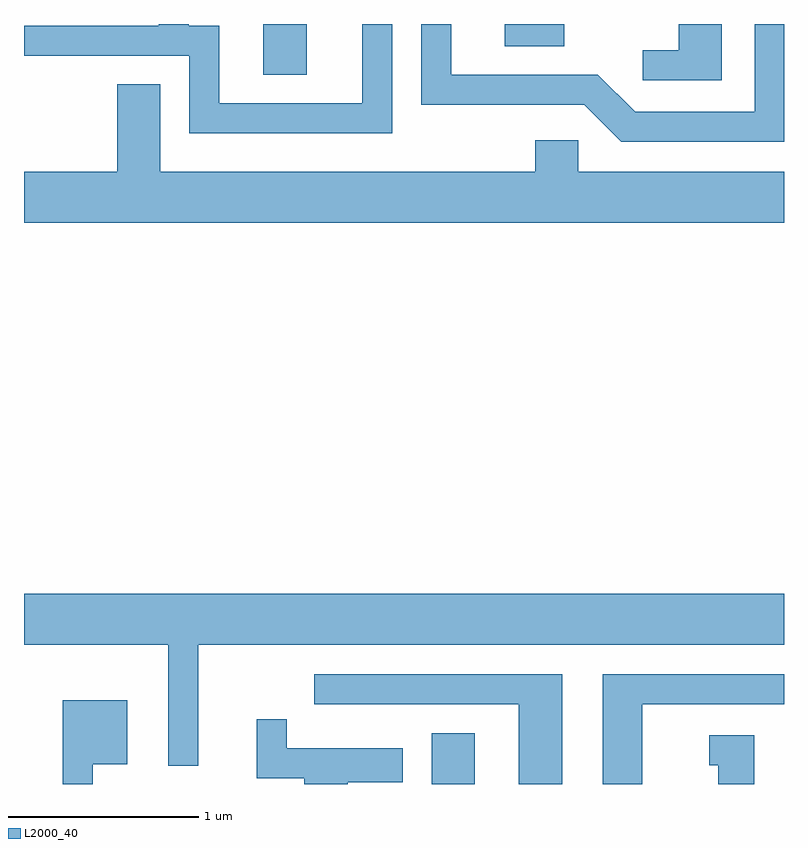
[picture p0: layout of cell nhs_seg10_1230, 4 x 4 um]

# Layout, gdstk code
import gdstk
lib = gdstk.Library(unit=1e-6, precision=1e-09)
def R(c, l, rs):  # rectangles x0, y0, x1, y1
    for r in rs: c.add(gdstk.rectangle(r[:2], r[2:], *l))
def P(c, l, *ps):  # polygons
    for p in ps: c.add(gdstk.Polygon(p, *l))
L2000_40 = (2000, 40)

nhs_seg10_1230 = lib.new_cell('nhs_seg10_1230')
R(nhs_seg10_1230, L2000_40, [(223.756,2106.522,223.984,2106.789), (222.871,2110.256,223.099,2110.522), (224.141,2110.406,224.454,2110.522)])
P(nhs_seg10_1230, L2000_40, [(225.611,2110.522),(225.456,2110.522),(225.456,2110.059),(224.827,2110.059),(224.632,2110.254),(223.859,2110.254),(223.859,2110.522),(223.701,2110.522),(223.701,2110.096),(224.559,2110.096),(224.754,2109.901),(225.611,2109.901)],
  [(223.549,2110.522),(223.391,2110.522),(223.391,2110.104),(222.639,2110.104),(222.639,2110.514),(222.479,2110.514),(222.479,2110.522),(222.321,2110.522),(222.321,2110.514),(221.611,2110.514),(221.611,2110.356),(222.481,2110.356),(222.481,2109.946),(223.549,2109.946)],
  [(225.284,2110.522),(225.056,2110.522),(225.056,2110.384),(224.868,2110.384),(224.868,2110.226),(225.284,2110.226)],
  [(225.611,2109.744),(224.529,2109.744),(224.529,2109.909),(224.301,2109.909),(224.301,2109.744),(222.329,2109.744),(222.329,2110.204),(222.101,2110.204),(222.101,2109.744),(221.611,2109.744),(221.611,2109.476),(225.611,2109.476)],
  [(222.529,2107.256),(225.611,2107.256),(225.611,2107.524),(221.611,2107.524),(221.611,2107.256),(222.371,2107.256),(222.371,2106.618),(222.529,2106.618)],
  [(224.444,2107.099),(223.138,2107.099),(223.138,2106.941),(224.216,2106.941),(224.216,2106.522),(224.444,2106.522)],
  [(224.864,2106.941),(225.611,2106.941),(225.611,2107.099),(224.656,2107.099),(224.656,2106.522),(224.864,2106.522)],
  [(221.974,2106.626),(222.154,2106.626),(222.154,2106.964),(221.816,2106.964),(221.816,2106.522),(221.974,2106.522)],
  [(223.314,2106.531),(223.604,2106.531),(223.604,2106.709),(222.994,2106.709),(222.994,2106.863),(222.836,2106.863),(222.836,2106.551),(223.086,2106.551),(223.086,2106.522),(223.314,2106.522)],
  [(225.454,2106.779),(225.218,2106.779),(225.218,2106.621),(225.266,2106.621),(225.266,2106.522),(225.454,2106.522)])

lib.write_gds('nhs_seg10_1230.gds')
